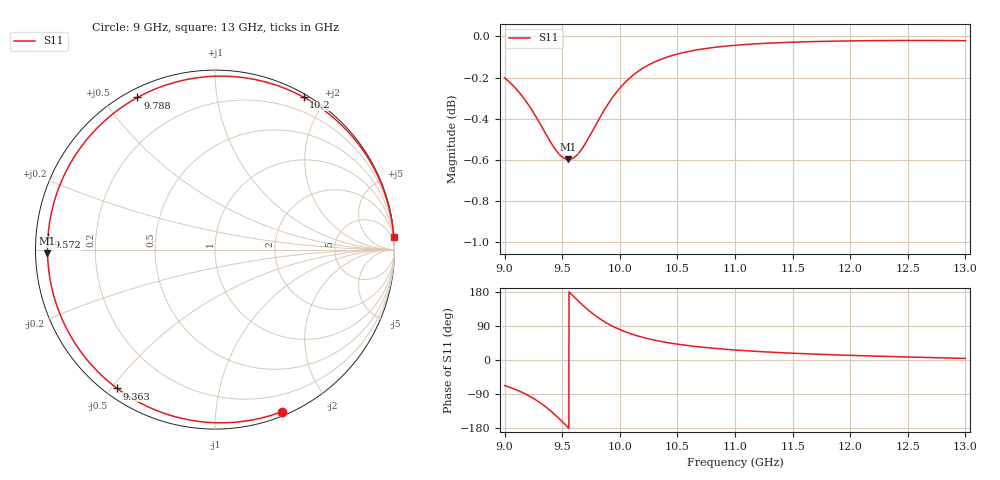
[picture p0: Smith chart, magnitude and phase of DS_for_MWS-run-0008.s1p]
! TOUCHSTONE file generated by CST DESIGN STUDIO
! Date and time: Tue Feb  4 14:13:28 2025
! Project name: C:\Work\MatlabApps\UnitCellOptimizationMatlab\CST\unitcell.cst
! Tree item: Tasks\Sweep1\SPara1\S-Parameters
! Header version: 2024
! Port assignment regex: !\s*Touchstone port\s*([0-9]+)\s*=\s*(CST MWS port|CST DES external port|CST DES block port)\s*(.+)\s* \(\"(.*)\"\)(\s*mode\s*([0-9]+))?.*
! Touchstone port assignment:
! Touchstone port 1 = CST DES external port 1 ("")
# GHz S MA R 50
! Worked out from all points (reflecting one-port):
!   4001 points, 9 GHz to 13 GHz, reference 50 ohm
!   lowest |S11| = -0.6 dB at 9.554 GHz (marker M1), VSWR 29.06, Z = 1.72 - j0.558 ohm
!   phase of S11 starts at -67 deg and turns -288 deg over the sweep
!   S11 on the Smith chart (normalised r, x): 9 GHz: 0.04, -1.50; 9.363 GHz: 0.04, -0.52; 9.572 GHz: 0.03, +0.04; 9.788 GHz: 0.03, +0.61; 10.2 GHz: 0.04, +1.74; 13 GHz: 1, +28
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9  0.977 -67.4
9.04  0.9749 -71.5
9.105  0.9707 -79.1
9.217  0.9615 -95.5
9.294  0.9538 -109.8
9.363  0.9463 -125.2
9.429  0.9397 -142.1
9.5  0.9347 -162.4
9.554  0.9335 -178.7
9.572  0.9336 175.8
9.626  0.9357 159.6
9.687  0.9405 142.2
9.737  0.9456 129.1
9.788  0.9513 117.0
9.834  0.9563 107.3
9.883  0.9614 98.1
9.937  0.9664 89.2
10  0.9714 80.3
10.095  0.9775 69.2
10.198  0.9823 59.9
10.336  0.9867 50.3
10.5  0.9902 41.8
10.721  0.993 33.6
11  0.995 26.4
11.5  0.9968 17.9
12  0.9975 12.2
12.5  0.9977 7.9
13  0.9976 4.1
